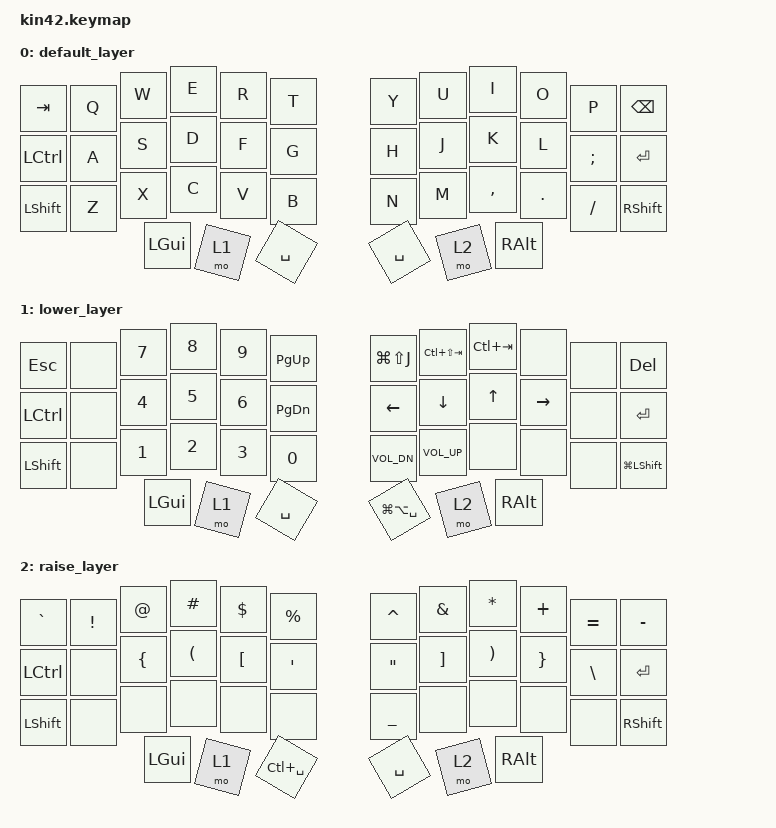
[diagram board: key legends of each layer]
// Copyright (c) 2022 The ZMK Contributors
// SPDX-License-Identifier: MIT

#include <behaviors.dtsi>
#include <dt-bindings/zmk/keys.h>
#include <dt-bindings/zmk/bt.h>

// Home row mods macro
// #define HRML(k1,k2,k3,k4) &ht LSHFT k1  &ht LALT k2  &ht LCTRL k3  &ht LGUI k4
// #define HRMR(k1,k2,k3,k4) &ht RGUI k1  &ht RCTRL k2  &ht RALT k3  &ht RSHFT k4

#define LOWER   1
#define RAISE   2

/ {
    behaviors {
        ht: hold_tap {
            compatible = "zmk,behavior-hold-tap";
            #binding-cells = <2>;
            flavor = "tap-preferred";
            tapping-term-ms = <220>;
            quick-tap-ms = <150>;
            require-prior-idle-ms = <100>;
            bindings = <&kp>, <&kp>;
        };
    };

    // conditional_layers {
    //     compatible = "zmk,conditional-layers";
    //     tri_layer {
    //         if-layers = <1 2>;
    //         then-layer = <3>;
    //     };
    // };

    keymap {
        compatible = "zmk,keymap";

        default_layer {
            bindings = <
&kp TAB    &kp Q  &kp W  &kp E     &kp R  &kp T        &kp Y      &kp U  &kp I      &kp O    &kp P     &kp BSPC
&kp LCTRL  &kp A  &kp S  &kp D     &kp F  &kp G        &kp H      &kp J  &kp K      &kp L    &kp SEMI  &kp RET
&kp LSHFT  &kp Z  &kp X  &kp C     &kp V  &kp B        &kp N      &kp M  &kp COMMA  &kp DOT  &kp FSLH  &kp RSHFT
                         &kp LGUI  &mo 1  &kp SPACE    &kp SPACE  &mo 2  &kp RALT
            >;
        };

        lower_layer {
            bindings = <
&kp ESC    &none  &kp N7  &kp N8    &kp N9  &kp PAGE_UP      &kp LG(LS(J))      &kp LC(LS(TAB))  &kp LC(TAB)  &none      &none  &kp DELETE
&kp LCTRL  &none  &kp N4  &kp N5    &kp N6  &kp PAGE_DOWN    &kp LEFT           &kp DOWN         &kp UP       &kp RIGHT  &none  &kp RET
&kp LSHFT  &none  &kp N1  &kp N2    &kp N3  &kp N0           &kp C_VOL_DN       &kp C_VOL_UP     &none        &none      &none  &kp LG(LSHFT)
                          &kp LGUI  &mo 1   &kp SPACE        &kp LG(LA(SPACE))  &mo 2            &kp RALT
            >;
        };

        raise_layer {
            bindings = <
&kp GRAVE  &kp EXCL  &kp AT          &kp POUND             &kp DOLLAR        &kp PERCENT      &kp CARET          &kp AMPS           &kp STAR               &kp PLUS         &kp EQUAL      &kp MINUS
&kp LCTRL  &none     &kp LEFT_BRACE  &kp LEFT_PARENTHESIS  &kp LEFT_BRACKET  &kp SQT          &kp DOUBLE_QUOTES  &kp RIGHT_BRACKET  &kp RIGHT_PARENTHESIS  &kp RIGHT_BRACE  &kp BACKSLASH  &kp RET
&kp LSHFT  &none     &none           &none                 &none             &none            &kp UNDER          &none              &none                  &none            &none          &kp RSHFT
                                     &kp LGUI              &mo 1             &kp LC(SPACE)    &kp SPACE          &mo 2              &kp RALT
            >;
        };
    };
};
